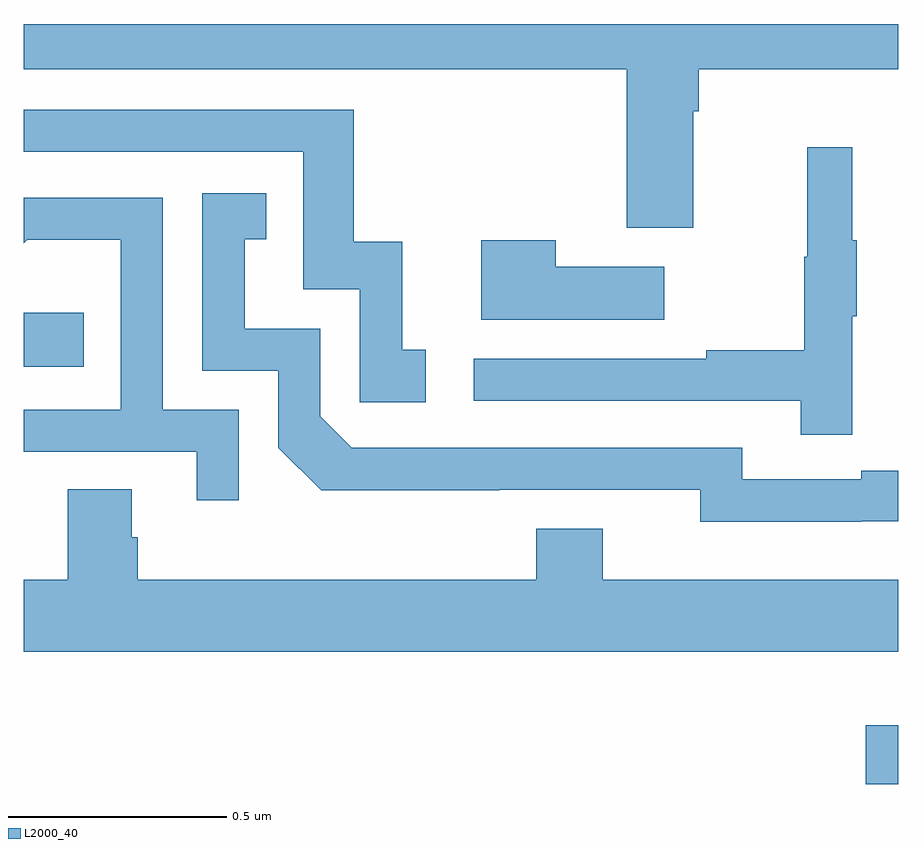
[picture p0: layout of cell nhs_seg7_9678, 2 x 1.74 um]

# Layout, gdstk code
import gdstk
lib = gdstk.Library(unit=1e-6, precision=1e-09)
def R(c, l, rs):  # rectangles x0, y0, x1, y1
    for r in rs: c.add(gdstk.rectangle(r[:2], r[2:], *l))
def P(c, l, *ps):  # polygons
    for p in ps: c.add(gdstk.Polygon(p, *l))
L2000_40 = (2000, 40)

nhs_seg7_9678 = lib.new_cell('nhs_seg7_9678')
R(nhs_seg7_9678, L2000_40, [(241.926,1052.261,242,1052.395), (240,1053.216,240.137,1053.339)])
P(nhs_seg7_9678, L2000_40, [(241.531,1053.8),(241.544,1053.8),(241.544,1053.896),(242,1053.896),(242,1054),(240,1054),(240,1053.896),(241.379,1053.896),(241.379,1053.534),(241.531,1053.534)],
  [(240.919,1053.255),(240.866,1053.255),(240.866,1053.502),(240.755,1053.502),(240.755,1053.804),(240,1053.804),(240,1053.708),(240.639,1053.708),(240.639,1053.393),(240.768,1053.393),(240.768,1053.135),(240.919,1053.135)],
  [(241.895,1053.331),(241.906,1053.331),(241.906,1053.505),(241.895,1053.505),(241.895,1053.718),(241.792,1053.718),(241.792,1053.468),(241.785,1053.468),(241.785,1053.254),(241.561,1053.254),(241.561,1053.234),(241.029,1053.234),(241.029,1053.138),(241.777,1053.138),(241.777,1053.06),(241.895,1053.06)],
  [(241.916,1052.862),(242,1052.862),(242,1052.978),(241.916,1052.978),(241.916,1052.958),(241.644,1052.958),(241.644,1053.03),(240.75,1053.03),(240.678,1053.102),(240.678,1053.303),(240.505,1053.303),(240.505,1053.507),(240.554,1053.507),(240.554,1053.613),(240.408,1053.613),(240.408,1053.207),(240.582,1053.207),(240.582,1053.03),(240.68,1052.933),(241.088,1052.933),(241.088,1052.934),(241.548,1052.934),(241.548,1052.861),(241.916,1052.861)],
  [(240.492,1053.117),(240.318,1053.117),(240.318,1053.603),(240,1053.603),(240,1053.498),(240.008,1053.506),(240.222,1053.506),(240.222,1053.117),(240,1053.117),(240,1053.021),(240.395,1053.021),(240.395,1052.91),(240.492,1052.91)],
  [(241.465,1053.445),(241.217,1053.445),(241.217,1053.505),(241.046,1053.505),(241.046,1053.323),(241.465,1053.323)],
  [(242,1052.728),(241.324,1052.728),(241.324,1052.845),(241.172,1052.845),(241.172,1052.728),(240.26,1052.728),(240.26,1052.826),(240.247,1052.826),(240.247,1052.936),(240.1,1052.936),(240.1,1052.728),(240,1052.728),(240,1052.564),(242,1052.564)])

lib.write_gds('nhs_seg7_9678.gds')
